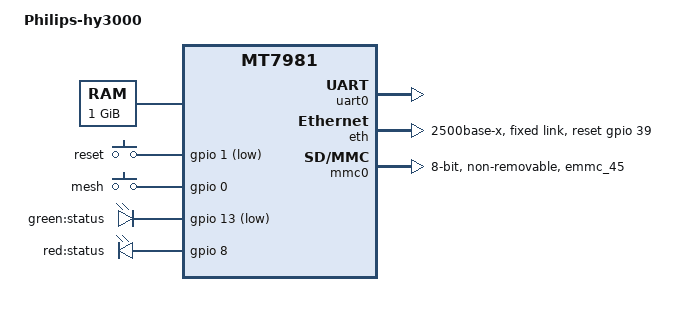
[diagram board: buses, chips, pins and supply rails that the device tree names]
// SPDX-License-Identifier: GPL-2.0-or-later OR MIT
/*
 * Copyright (C) 2023 Tianling Shen <cnsztl@immortalwrt.org>
 */

/dts-v1/;
#include <dt-bindings/gpio/gpio.h>
#include <dt-bindings/input/input.h>
#include <dt-bindings/leds/common.h>

#include "mt7981.dtsi"

/ {
	model = "Philips-hy3000";
	compatible = "philips,hy3000", "mediatek,mt7981";

	aliases {
		led-boot = &status_red_led;
		led-failsafe = &status_red_led;
		led-running = &status_green_led;
		led-upgrade = &status_red_led;
		serial0 = &uart0;
	};

	chosen: chosen {
		bootargs = "root=PARTLABEL=rootfs rootwait rootfstype=squashfs,f2fs";
		stdout-path = "serial0:115200n8";
	};

	memory {
		device_type = "memory";
		reg = <0x0 0x40000000 0x0 0x40000000>;
	};

	keys {
		compatible = "gpio-keys";

		reset {
			label = "reset";
			linux,code = <KEY_RESTART>;
			gpios = <&gpio 1 GPIO_ACTIVE_LOW>;
		};

		mesh {
			label = "mesh";
			linux,code = <BTN_9>;
			linux,input-type = <EV_SW>;
			gpios = <&gpio 0 GPIO_ACTIVE_HIGH>;
		};
	};

	leds {
		compatible = "gpio-leds";

		status_green_led: green {
			label = "green:status";
			gpios = <&gpio 13 GPIO_ACTIVE_LOW>;
		};

		status_red_led: red {
			label = "red:status";
			gpios = <&gpio 8 GPIO_ACTIVE_HIGH>;
		};
	};
};

&uart0 {
	status = "okay";
};

&watchdog {
	status = "disabled";
};

&eth {
	status = "okay";
	mediatek,gmac-id = <0>;
	phy-mode = "2500base-x";
	mediatek,switch = "auto";
	reset-gpios = <&gpio 39 GPIO_ACTIVE_HIGH>;

	fixed-link {
		speed = <2500>;
		full-duplex;
		pause;
	};
};

&mmc0 {
	pinctrl-names = "default";
	pinctrl-0 = <&mmc0_pins_default>;
	max-frequency = <52000000>;
	bus-width = <8>;
	cap-mmc-highspeed;
	cap-mmc-hw-reset;
	non-removable;
	status = "okay";
};

&pio {
	mmc0_pins_default: mmc0-pins-default {
		mux {
			function = "flash";
			groups = "emmc_45";
		};
	};
};
